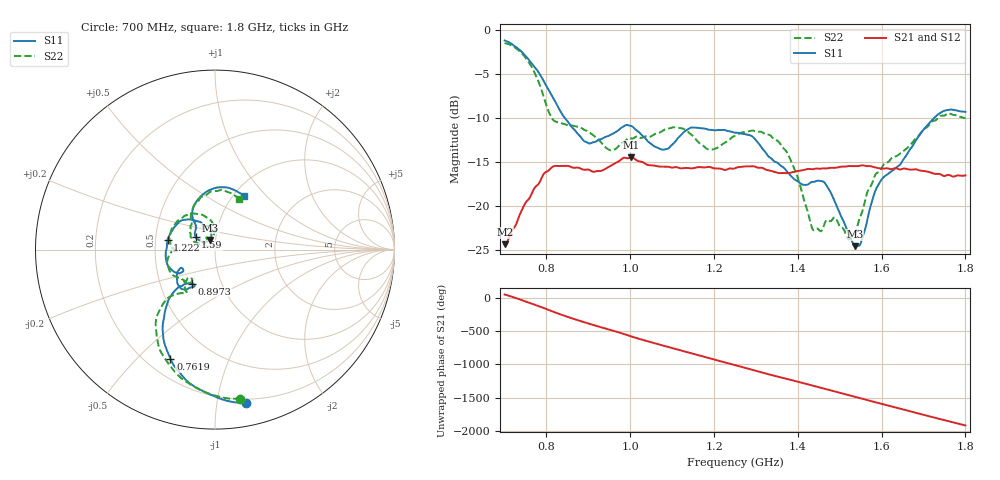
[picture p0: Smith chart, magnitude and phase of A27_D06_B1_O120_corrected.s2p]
! Created with skrf 1.9.0 (http://scikit-rf.org).
# Hz S RI R 50.0
!freq ReS11 ImS11 ReS21 ImS21 ReS12 ImS12 ReS22 ImS22
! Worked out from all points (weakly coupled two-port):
!   1601 points, 700 MHz to 1.8 GHz, reference 50 ohm
!   highest |S21| = -14.51 dB at 1.002 GHz (marker M1); lowest = -24.4 dB at 700.7 MHz (marker M2)
!   lowest |S11| = -24.6 dB at 1.537 GHz (marker M3), VSWR 1.13, Z = 47.2 + j5.03 ohm
!   |S11| at or under -10 dB: 843.4 MHz to 1.726 GHz (882.1 MHz wide, 68.7 % of centre)
!   |S22| runs from -23.8 to -1.5 dB; largest |S21 - S12| = 0.0035
!   S11 on the Smith chart (normalised r, x): 700 MHz: 0.17, -1.21; 761.9 MHz: 0.29, -0.63; 897.3 MHz: 0.73, -0.29; 1.222 GHz: 0.58, +0.07; 1.59 GHz: 0.80, +0.12; 1.8 GHz: 1.11, +0.76
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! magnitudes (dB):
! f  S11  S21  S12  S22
! 700 MHz  -1.2  -24.4  -24.2  -1.5
! 700.7 MHz  -1.2  -24.4  -24.1  -1.5
! 761.9 MHz  -3.6  -18.9  -18.8  -4.0
! 814.8 MHz  -7.6  -15.6  -15.6  -10.2
! 883.6 MHz  -12.3  -15.8  -15.7  -11.2
! 897.3 MHz  -12.8  -15.9  -16.0  -11.5
! 953 MHz  -11.9  -15.5  -15.5  -13.7
! 1.002 GHz  -10.9  -14.5  -14.6  -12.4
! 1.067 GHz  -13.5  -15.5  -15.5  -11.7
! 1.145 GHz  -11.1  -15.8  -15.7  -11.9
! 1.222 GHz  -11.4  -15.9  -15.9  -12.9
! 1.25 GHz  -11.7  -15.7  -15.7  -12.1
! 1.356 GHz  -15.3  -16.3  -16.2  -12.8
! 1.394 GHz  -17.0  -16.1  -16.1  -16.0
! 1.434 GHz  -17.3  -15.8  -15.8  -22.5
! 1.468 GHz  -17.7  -15.8  -15.7  -21.7
! 1.537 GHz  -24.6  -15.5  -15.5  -23.2
! 1.552 GHz  -24.0  -15.4  -15.4  -20.9
! 1.59 GHz  -17.8  -15.7  -15.7  -16.2
! 1.617 GHz  -16.3  -15.8  -15.7  -15.0
! 1.733 GHz  -9.7  -16.4  -16.4  -10.1
! 1.8 GHz  -9.3  -16.5  -16.5  -10.1
